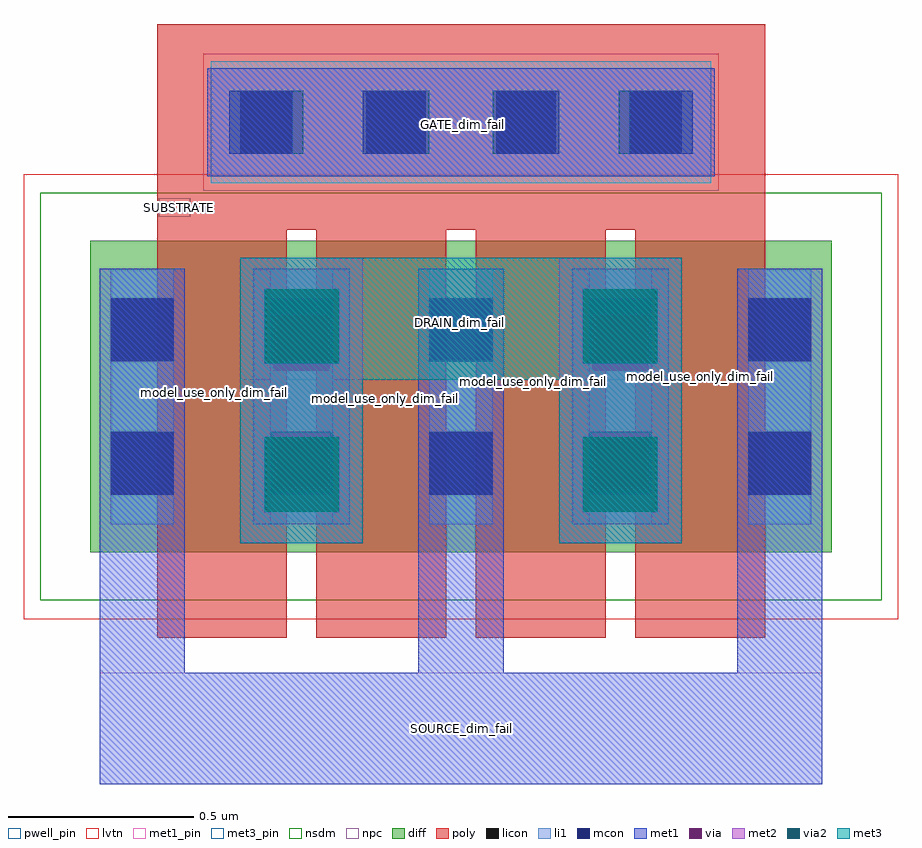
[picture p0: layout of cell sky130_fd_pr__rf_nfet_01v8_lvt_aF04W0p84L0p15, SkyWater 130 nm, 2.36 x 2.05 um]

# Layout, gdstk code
import gdstk
lib = gdstk.Library(unit=1e-6, precision=1e-09)
def R(c, l, rs):  # rectangles x0, y0, x1, y1
    for r in rs: c.add(gdstk.rectangle(r[:2], r[2:], *l))
def A(c, l, x, y, w, h, nx, ny, dx, dy):  # array of equal rectangles
    R(c, l, [(x+i*dx, y+j*dy, x+i*dx+w, y+j*dy+h) for i in range(nx) for j in range(ny)])
def P(c, l, *ps):  # polygons
    for p in ps: c.add(gdstk.Polygon(p, *l))
diff = (65, 20)
poly = (66, 20)
licon = (66, 44)
li1 = (67, 20)
mcon = (67, 44)
met1_pin = (68, 16)
met1 = (68, 20)
via = (68, 44)
met2 = (69, 20)
via2 = (69, 44)
met3_pin = (70, 16)
met3 = (70, 20)
nsdm = (93, 44)
npc = (95, 20)
pwell_pin = (122, 16)
lvtn = (125, 44)

sky130_fd_pr__rf_nfet_01 = lib.new_cell('sky130_fd_pr__rf_nfet_01v8_lvt_aF04W0p84L0p15')
A(sky130_fd_pr__rf_nfet_01, diff, 0.18, 0.18, 0.28, 0.84, 3, 1, 0.43, 0)
A(sky130_fd_pr__rf_nfet_01, diff, 0.21, 0.18, 0.25, 0.84, 3, 1, 0.86, 0)
A(sky130_fd_pr__rf_nfet_01, diff, 0.46, 0.18, 0.15, 0.84, 4, 1, 0.43, 0)
A(sky130_fd_pr__rf_nfet_01, diff, 1.04, 0.18, 0.28, 0.84, 3, 1, 0.43, 0)
R(sky130_fd_pr__rf_nfet_01, diff, [(1.9,0.18,2.18,1.02)])
P(sky130_fd_pr__rf_nfet_01, poly, [(0.36,-0.05),(0.36,1.605),(2,1.605),(2,-0.05),(1.65,-0.05),(1.65,1.05),(1.57,1.05),(1.57,-0.05),(1.22,-0.05),(1.22,1.05),(1.14,1.05),(1.14,-0.05),(0.79,-0.05),(0.79,1.05),(0.71,1.05),(0.71,-0.05)])
A(sky130_fd_pr__rf_nfet_01, licon, 0.235, 0.335, 0.17, 0.17, 5, 2, 0.43, 0.36)
A(sky130_fd_pr__rf_nfet_01, licon, 0.585, 1.255, 0.17, 0.17, 4, 1, 0.34, 0)
A(sky130_fd_pr__rf_nfet_01, li1, 0.235, 0.255, 0.17, 0.69, 5, 1, 0.43, 0)
R(sky130_fd_pr__rf_nfet_01, li1, [(0.505,1.175,1.855,1.505), (0.555,1.255,1.805,1.425)])
A(sky130_fd_pr__rf_nfet_01, mcon, 0.235, 0.335, 0.17, 0.17, 5, 2, 0.43, 0.36)
A(sky130_fd_pr__rf_nfet_01, mcon, 0.555, 1.255, 0.17, 0.17, 4, 1, 0.36, 0)
R(sky130_fd_pr__rf_nfet_01, met1_pin, [(0.205,-0.445,2.155,-0.145), (0.495,1.195,1.865,1.485)])
R(sky130_fd_pr__rf_nfet_01, met1, [(0.62,0.275,0.88,0.925), (1.48,0.275,1.74,0.925), (0.495,1.195,1.865,1.485)])
R(sky130_fd_pr__rf_nfet_01, via, [(0.675,0.35,0.825,0.5), (1.535,0.35,1.685,0.5), (0.675,0.67,0.825,0.82), (1.535,0.67,1.685,0.82)])
R(sky130_fd_pr__rf_nfet_01, met2, [(0.585,0.205,0.915,0.975), (1.445,0.205,1.775,0.975), (0.62,0.27,0.88,0.91), (1.48,0.27,1.74,0.91)])
R(sky130_fd_pr__rf_nfet_01, via2, [(0.65,0.29,0.85,0.49), (1.51,0.29,1.71,0.49), (0.65,0.69,0.85,0.89), (1.51,0.69,1.71,0.89)])
R(sky130_fd_pr__rf_nfet_01, met3_pin, [(0.585,0.645,1.775,0.975)])
R(sky130_fd_pr__rf_nfet_01, met3, [(0.585,0.205,0.915,0.975), (1.445,0.205,1.775,0.975)])
A(sky130_fd_pr__rf_nfet_01, nsdm, 0.21, 0.05, 0.4, 1.1, 4, 1, 0.43, 0)
A(sky130_fd_pr__rf_nfet_01, nsdm, 0.48, 0.05, 0.54, 1.1, 3, 1, 0.43, 0)
R(sky130_fd_pr__rf_nfet_01, nsdm, [(0.045,0.05,0.59,1.15), (1.77,0.05,2.315,1.15)])
R(sky130_fd_pr__rf_nfet_01, npc, [(0.485,1.155,1.875,1.525)])
R(sky130_fd_pr__rf_nfet_01, pwell_pin, [(0.365,1.085,0.45,1.135)])
R(sky130_fd_pr__rf_nfet_01, lvtn, [(0,0,2.36,1.2)])
sky130_fd_pr__rf_nfet_01.add(gdstk.FlexPath([(0.585,0.81),(1.775,0.81)], 0.33, ends="flush", simple_path=True, layer=70, datatype=20))  # met3
sky130_fd_pr__rf_nfet_01.add(gdstk.FlexPath([(2.04,0.945),(2.04,-0.445)], 0.23, ends="flush", simple_path=True, layer=68, datatype=20))  # met1
sky130_fd_pr__rf_nfet_01.add(gdstk.FlexPath([(1.18,0.945),(1.18,-0.445)], 0.23, ends="flush", simple_path=True, layer=68, datatype=20))  # met1
sky130_fd_pr__rf_nfet_01.add(gdstk.FlexPath([(0.32,0.945),(0.32,-0.445)], 0.23, ends="flush", simple_path=True, layer=68, datatype=20))  # met1
sky130_fd_pr__rf_nfet_01.add(gdstk.FlexPath([(0.205,-0.295),(2.155,-0.295)], 0.3, ends="flush", simple_path=True, layer=68, datatype=20))  # met1
sky130_fd_pr__rf_nfet_01.add(gdstk.FlexPath([(0.75,0.945),(0.75,0.255)], 0.26, ends="flush", simple_path=True, layer=68, datatype=20))  # met1
sky130_fd_pr__rf_nfet_01.add(gdstk.FlexPath([(1.61,0.945),(1.61,0.255)], 0.26, ends="flush", simple_path=True, layer=68, datatype=20))  # met1
sky130_fd_pr__rf_nfet_01.add(gdstk.Label('model_use_only_dim_fail', (0.515,0.61), layer=66, texttype=83))
sky130_fd_pr__rf_nfet_01.add(gdstk.Label('model_use_only_dim_fail', (0.975,0.595), layer=66, texttype=83))
sky130_fd_pr__rf_nfet_01.add(gdstk.Label('model_use_only_dim_fail', (1.375,0.64), layer=66, texttype=83))
sky130_fd_pr__rf_nfet_01.add(gdstk.Label('model_use_only_dim_fail', (1.825,0.655), layer=66, texttype=83))
sky130_fd_pr__rf_nfet_01.add(gdstk.Label('DRAIN_dim_fail', (1.175,0.8), layer=70, texttype=16))
sky130_fd_pr__rf_nfet_01.add(gdstk.Label('SOURCE_dim_fail', (1.18,-0.295), layer=68, texttype=16))
sky130_fd_pr__rf_nfet_01.add(gdstk.Label('GATE_dim_fail', (1.185,1.335), layer=68, texttype=16))
sky130_fd_pr__rf_nfet_01.add(gdstk.Label('SUBSTRATE', (0.42,1.11), layer=64, texttype=59))

lib.write_gds('sky130_fd_pr__rf_nfet_01v8_lvt_aF04W0p84L0p15.gds')
